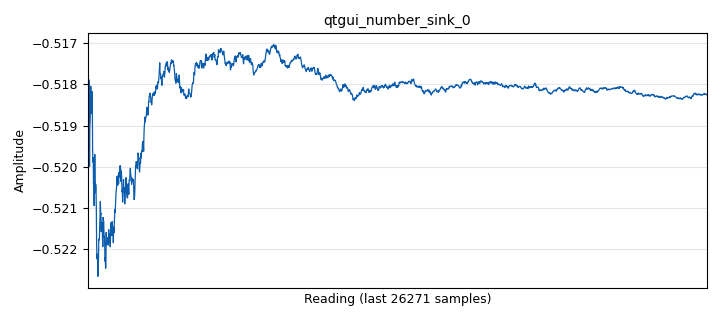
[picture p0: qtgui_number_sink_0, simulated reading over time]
options:
  parameters:
    author: Abrar Ahmad
    generate_options: qt_gui
    id: ECE512_Lab3
    output_language: python
    title: BFSK-Tx
  states: {}

blocks:
- name: deviation
  id: variable
  parameters:
    value: '600'
  states: {}
- name: eb_n0_db
  id: variable
  parameters:
    value: '0'
  states: {}
- name: samp_rate
  id: variable
  parameters:
    value: '76800'
  states: {}
- name: sig_pwr
  id: variable
  parameters:
    value: '1'
  states: {}
- name: symbol_rate
  id: variable
  parameters:
    value: '1200'
  states: {}
- name: analog_frequency_modulator_fc_0
  id: analog_frequency_modulator_fc
  parameters:
    sensitivity: 2*math.pi*deviation/samp_rate
  states: {}
- name: analog_noise_source_x_1
  id: analog_noise_source_x
  parameters:
    amp: math.sqrt( sig_pwr/ (10**(eb_n0_db/10)) * samp_rate/symbol_rate )
    noise_type: analog.GR_GAUSSIAN
    seed: '0'
    type: complex
  states: {}
- name: analog_sig_source_x_0
  id: analog_sig_source_x
  parameters:
    amp: math.sqrt(2/(1/symbol_rate))
    freq: deviation
    offset: '0'
    phase: '0'
    samp_rate: samp_rate
    type: complex
    waveform: analog.GR_COS_WAVE
  states: {}
- name: analog_sig_source_x_0_0
  id: analog_sig_source_x
  parameters:
    amp: math.sqrt(2/(1/symbol_rate))
    freq: '-deviation'
    offset: '0'
    phase: '0'
    samp_rate: samp_rate
    type: complex
    waveform: analog.GR_COS_WAVE
  states: {}
- name: blocks_add_const_vxx_0
  id: blocks_add_const_vxx
  parameters:
    const: '-1'
    type: float
  states: {}
- name: blocks_add_xx_0
  id: blocks_add_xx
  parameters:
    type: complex
  states: {}
- name: blocks_char_to_float_0
  id: blocks_char_to_float
  parameters:
    scale: '0.5'
  states: {}
- name: blocks_complex_to_mag_squared_0
  id: blocks_complex_to_mag_squared
  parameters: {}
  states: {}
- name: blocks_complex_to_mag_squared_0_0
  id: blocks_complex_to_mag_squared
  parameters: {}
  states: {}
- name: blocks_keep_one_in_n_0
  id: blocks_keep_one_in_n
  parameters:
    n: int(samp_rate/symbol_rate)
    type: float
  states: {}
- name: blocks_moving_average_xx_0_0
  id: blocks_moving_average_xx
  parameters:
    length: int(samp_rate/symbol_rate)
    max_iter: '4000'
    scale: '1'
    type: complex
  states: {}
- name: blocks_moving_average_xx_0_0_0
  id: blocks_moving_average_xx
  parameters:
    length: int(samp_rate/symbol_rate)
    max_iter: '4000'
    scale: '1'
    type: complex
  states: {}
- name: blocks_multiply_xx_0
  id: blocks_multiply_xx
  parameters:
    type: complex
  states: {}
- name: blocks_multiply_xx_0_0
  id: blocks_multiply_xx
  parameters:
    type: complex
  states: {}
- name: blocks_pack_k_bits_bb_0
  id: blocks_pack_k_bits_bb
  parameters:
    k: '8'
  states: {}
- name: blocks_pack_k_bits_bb_0_0
  id: blocks_pack_k_bits_bb
  parameters:
    k: '8'
  states: {}
- name: blocks_repeat_0
  id: blocks_repeat
  parameters:
    interp: int(samp_rate/symbol_rate)
    type: float
  states: {}
- name: blocks_sub_xx_0
  id: blocks_sub_xx
  parameters:
    type: float
  states: {}
- name: blocks_throttle2_1
  id: blocks_throttle2
  parameters:
    samples_per_second: samp_rate
    type: complex
  states: {}
- name: digital_binary_slicer_fb_0
  id: digital_binary_slicer_fb
  parameters: {}
  states: {}
- name: digital_glfsr_source_x_0
  id: digital_glfsr_source_x
  parameters:
    degree: '20'
    mask: '0'
    repeat: 'True'
    seed: '1'
    type: byte
  states: {}
- name: fec_ber_bf_0
  id: fec_ber_bf
  parameters:
    test_mode: 'False'
  states: {}
- name: import_0
  id: import
  parameters:
    imports: import math
  states: {}
- name: qtgui_number_sink_0
  id: qtgui_number_sink
  parameters:
    graph_type: qtgui.NUM_GRAPH_HORIZ
    type: float
  states: {}
- name: virtual_sink_0
  id: virtual_sink
  parameters: {}
  states: {}
- name: virtual_source_0
  id: virtual_source
  parameters: {}
  states: {}

connections:
- [analog_frequency_modulator_fc_0, '0', blocks_add_xx_0, '1']
- [analog_noise_source_x_1, '0', blocks_throttle2_1, '0']
- [analog_sig_source_x_0, '0', blocks_multiply_xx_0, '1']
- [analog_sig_source_x_0_0, '0', blocks_multiply_xx_0_0, '0']
- [blocks_add_const_vxx_0, '0', blocks_repeat_0, '0']
- [blocks_add_xx_0, '0', virtual_sink_0, '0']
- [blocks_char_to_float_0, '0', blocks_add_const_vxx_0, '0']
- [blocks_complex_to_mag_squared_0, '0', blocks_sub_xx_0, '0']
- [blocks_complex_to_mag_squared_0_0, '0', blocks_sub_xx_0, '1']
- [blocks_keep_one_in_n_0, '0', digital_binary_slicer_fb_0, '0']
- [blocks_moving_average_xx_0_0, '0', blocks_complex_to_mag_squared_0, '0']
- [blocks_moving_average_xx_0_0_0, '0', blocks_complex_to_mag_squared_0_0, '0']
- [blocks_multiply_xx_0, '0', blocks_moving_average_xx_0_0_0, '0']
- [blocks_multiply_xx_0_0, '0', blocks_moving_average_xx_0_0, '0']
- [blocks_pack_k_bits_bb_0, '0', fec_ber_bf_0, '0']
- [blocks_pack_k_bits_bb_0_0, '0', fec_ber_bf_0, '1']
- [blocks_repeat_0, '0', analog_frequency_modulator_fc_0, '0']
- [blocks_sub_xx_0, '0', blocks_keep_one_in_n_0, '0']
- [blocks_throttle2_1, '0', blocks_add_xx_0, '0']
- [digital_binary_slicer_fb_0, '0', blocks_pack_k_bits_bb_0_0, '0']
- [digital_glfsr_source_x_0, '0', blocks_char_to_float_0, '0']
- [digital_glfsr_source_x_0, '0', blocks_pack_k_bits_bb_0, '0']
- [fec_ber_bf_0, '0', qtgui_number_sink_0, '0']
- [virtual_source_0, '0', blocks_multiply_xx_0, '0']
- [virtual_source_0, '0', blocks_multiply_xx_0_0, '1']

metadata:
  file_format: 1
  grc_version: 3.10.10.0
